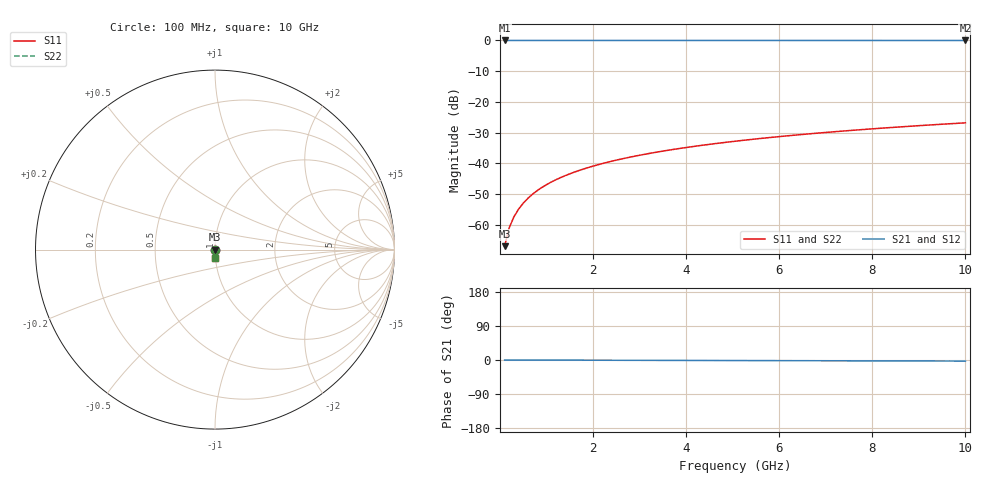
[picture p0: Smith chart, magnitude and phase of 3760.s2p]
# Hz S RI R 50.00
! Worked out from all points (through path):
!   100 points, 100 MHz to 10 GHz, reference 50 ohm
!   highest |S21| = 0.00 dB at 100 MHz (marker M1); lowest = 0.0 dB at 10 GHz (marker M2)
!   lowest |S11| = -66.9 dB at 100 MHz (marker M3), VSWR 1.00, Z = 50 - j0.045 ohm
!   |S11| at or under -10 dB: start of sweep to end of sweep
!   |S22| runs from -66.9 to -26.8 dB; largest |S21 - S12| = 0
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1e8  3.11e-06 -0.00045  1 -0.000493  1 -0.000493  3.11e-06 -0.00045
2e8  2.01e-06 -0.000901  1 -0.000985  1 -0.000985  2.01e-06 -0.000901
3e8  4.61e-07 -0.00135  1 -0.00148  1 -0.00148  4.61e-07 -0.00135
4e8  -1.54e-06 -0.0018  1 -0.00197  1 -0.00197  -1.54e-06 -0.0018
5e8  -3.98e-06 -0.00225  1 -0.00246  1 -0.00246  -3.98e-06 -0.00225
6e8  -6.88e-06 -0.0027  1 -0.00296  1 -0.00296  -6.88e-06 -0.0027
7e8  -1.02e-05 -0.00315  1 -0.00345  1 -0.00345  -1.02e-05 -0.00315
8e8  -1.4e-05 -0.0036  1 -0.00394  1 -0.00394  -1.4e-05 -0.0036
9e8  -1.82e-05 -0.00406  1 -0.00444  1 -0.00444  -1.82e-05 -0.00406
1.1e9  -2.8e-05 -0.00496  1 -0.00542  1 -0.00542  -2.8e-05 -0.00496
1.4e9  -4.61e-05 -0.00631  0.9999 -0.00691  0.9999 -0.00691  -4.61e-05 -0.00631
1.8e9  -7.65e-05 -0.00812  0.9999 -0.00889  0.9999 -0.00889  -7.65e-05 -0.00812
2.1e9  -0.000104 -0.00948  0.9999 -0.0104  0.9999 -0.0104  -0.000104 -0.00948
2.5e9  -0.000147 -0.0113  0.9998 -0.0124  0.9998 -0.0124  -0.000147 -0.0113
2.9e9  -0.000198 -0.0131  0.9998 -0.0143  0.9998 -0.0143  -0.000198 -0.0131
3.4e9  -0.000271 -0.0154  0.9997 -0.0168  0.9997 -0.0168  -0.000271 -0.0154
4.2e9  -0.000412 -0.019  0.9996 -0.0208  0.9996 -0.0208  -0.000412 -0.019
5.1e9  -0.000607 -0.0232  0.9994 -0.0253  0.9994 -0.0253  -0.000607 -0.0232
5.9e9  -0.000811 -0.0268  0.9992 -0.0294  0.9992 -0.0294  -0.000811 -0.0268
6.7e9  -0.00105 -0.0305  0.9989 -0.0334  0.9989 -0.0334  -0.00105 -0.0305
8.4e9  -0.00164 -0.0383  0.9983 -0.0419  0.9983 -0.0419  -0.00164 -0.0383
1e10  -0.00233 -0.0456  0.9977 -0.05  0.9977 -0.05  -0.00233 -0.0456
